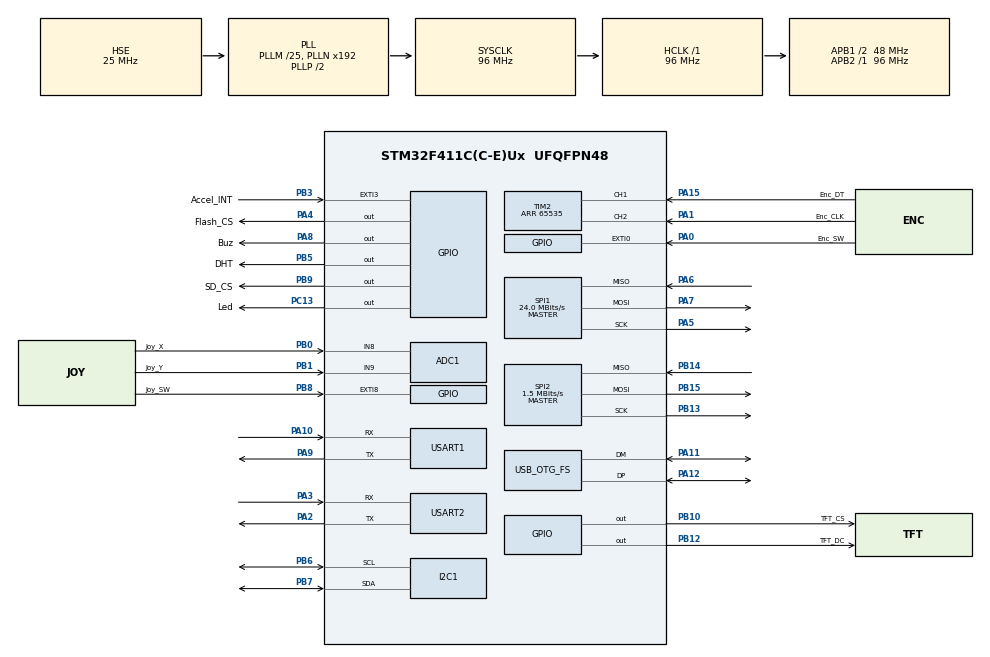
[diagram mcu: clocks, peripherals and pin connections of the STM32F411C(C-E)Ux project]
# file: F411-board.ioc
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ADC1.Channel-0\#ChannelRegularConversion=ADC_CHANNEL_8
ADC1.Channel-1\#ChannelRegularConversion=ADC_CHANNEL_9
ADC1.ContinuousConvMode=ENABLE
ADC1.DMAContinuousRequests=ENABLE
ADC1.EOCSelection=ADC_EOC_SEQ_CONV
ADC1.NbrOfConversion=2
ADC1.NbrOfConversionFlag=1
ADC1.Rank-0\#ChannelRegularConversion=1
ADC1.Rank-1\#ChannelRegularConversion=2
ADC1.SamplingTime-0\#ChannelRegularConversion=ADC_SAMPLETIME_56CYCLES
ADC1.SamplingTime-1\#ChannelRegularConversion=ADC_SAMPLETIME_56CYCLES
ADC1.master=1
Dma.ADC1.0.Direction=DMA_PERIPH_TO_MEMORY
Dma.ADC1.0.FIFOMode=DMA_FIFOMODE_DISABLE
Dma.ADC1.0.Instance=DMA2_Stream0
Dma.ADC1.0.MemDataAlignment=DMA_MDATAALIGN_HALFWORD
Dma.ADC1.0.MemInc=DMA_MINC_ENABLE
Dma.ADC1.0.Mode=DMA_CIRCULAR
Dma.ADC1.0.PeriphDataAlignment=DMA_PDATAALIGN_HALFWORD
Dma.ADC1.0.PeriphInc=DMA_PINC_DISABLE
Dma.ADC1.0.Priority=DMA_PRIORITY_LOW
Dma.I2C1_RX.1.Direction=DMA_PERIPH_TO_MEMORY
Dma.I2C1_RX.1.FIFOMode=DMA_FIFOMODE_DISABLE
Dma.I2C1_RX.1.Instance=DMA1_Stream5
Dma.I2C1_RX.1.MemDataAlignment=DMA_MDATAALIGN_BYTE
Dma.I2C1_RX.1.MemInc=DMA_MINC_ENABLE
Dma.I2C1_RX.1.Mode=DMA_NORMAL
Dma.I2C1_RX.1.PeriphDataAlignment=DMA_PDATAALIGN_BYTE
Dma.I2C1_RX.1.PeriphInc=DMA_PINC_DISABLE
Dma.I2C1_RX.1.Priority=DMA_PRIORITY_LOW
Dma.Request0=ADC1
Dma.Request1=I2C1_RX
Dma.Request2=SPI1_TX
Dma.SPI1_TX.2.Direction=DMA_MEMORY_TO_PERIPH
Dma.SPI1_TX.2.FIFOMode=DMA_FIFOMODE_DISABLE
Dma.SPI1_TX.2.Instance=DMA2_Stream2
Dma.SPI1_TX.2.MemDataAlignment=DMA_MDATAALIGN_BYTE
Dma.SPI1_TX.2.MemInc=DMA_MINC_ENABLE
Dma.SPI1_TX.2.Mode=DMA_NORMAL
Dma.SPI1_TX.2.PeriphDataAlignment=DMA_PDATAALIGN_BYTE
Dma.SPI1_TX.2.PeriphInc=DMA_PINC_DISABLE
Dma.SPI1_TX.2.Priority=DMA_PRIORITY_LOW
FATFS._MAX_SS=4096
FATFS._USE_LABEL=1
FATFS._USE_LFN=1
Mcu.Family=STM32F4
Mcu.Name=STM32F411C(C-E)Ux
Mcu.Package=UFQFPN48
NVIC.DMA1_Stream5_IRQn=true\:1\:0\:true\:false\:true\:false\:true\:true
NVIC.DMA2_Stream0_IRQn=true\:2\:0\:true\:false\:true\:false\:true\:true
NVIC.DMA2_Stream2_IRQn=true\:0\:0\:false\:false\:true\:false\:true\:true
NVIC.EXTI0_IRQn=true\:7\:0\:true\:false\:true\:true\:true\:true
NVIC.EXTI3_IRQn=true\:7\:0\:true\:false\:true\:true\:true\:true
NVIC.EXTI9_5_IRQn=true\:7\:0\:true\:false\:true\:true\:true\:true
NVIC.OTG_FS_IRQn=true\:0\:0\:false\:false\:true\:false\:true\:true
NVIC.PriorityGroup=NVIC_PRIORITYGROUP_4
NVIC.TIM5_IRQn=true\:6\:0\:true\:false\:true\:true\:true\:true
PA0-WKUP.GPIO_Label=Enc_SW
PA0-WKUP.GPIO_ModeDefaultEXTI=GPIO_MODE_IT_FALLING
PA0-WKUP.GPIO_PuPd=GPIO_PULLUP
PA0-WKUP.Signal=GPXTI0
PA1.GPIO_Label=Enc_CLK
PA1.GPIO_ModeDefaultPP=GPIO_MODE_AF_PP
PA1.GPIO_PuPd=GPIO_PULLUP
PA1.Signal=S_TIM2_CH2
PA10.Mode=Asynchronous
PA10.Signal=USART1_RX
PA11.Mode=Device_Only
PA11.Signal=USB_OTG_FS_DM
PA12.Mode=Device_Only
PA12.Signal=USB_OTG_FS_DP
PA13.Mode=Serial_Wire
PA13.Signal=SYS_JTMS-SWDIO
PA14.Mode=Serial_Wire
PA14.Signal=SYS_JTCK-SWCLK
PA15.GPIO_Label=Enc_DT
PA15.GPIO_ModeDefaultPP=GPIO_MODE_AF_PP
PA15.Signal=S_TIM2_CH1_ETR
PA2.Mode=Asynchronous
PA2.Signal=USART2_TX
PA3.Mode=Asynchronous
PA3.Signal=USART2_RX
PA4.GPIO_Label=Flash_CS
PA4.GPIO_Speed=GPIO_SPEED_FREQ_HIGH
PA4.PinState=GPIO_PIN_SET
PA4.Signal=GPIO_Output
PA5.Mode=Full_Duplex_Master
PA5.Signal=SPI1_SCK
PA6.Mode=Full_Duplex_Master
PA6.Signal=SPI1_MISO
PA7.Mode=Full_Duplex_Master
PA7.Signal=SPI1_MOSI
PA8.GPIO_Label=Buz
PA8.GPIO_ModeDefaultOutputPP=GPIO_MODE_OUTPUT_OD
PA8.GPIO_PuPd=GPIO_NOPULL
PA8.PinState=GPIO_PIN_SET
PA8.Signal=GPIO_Output
PA9.Mode=Asynchronous
PA9.Signal=USART1_TX
PB0.GPIO_Label=Joy_X
PB0.Signal=ADCx_IN8
PB1.GPIO_Label=Joy_Y
PB1.Signal=ADCx_IN9
PB10.GPIO_Label=TFT_CS
PB10.GPIO_Speed=GPIO_SPEED_FREQ_HIGH
PB10.PinState=GPIO_PIN_SET
PB10.Signal=GPIO_Output
PB12.GPIO_Label=TFT_DC
PB12.GPIO_Speed=GPIO_SPEED_FREQ_HIGH
PB12.Signal=GPIO_Output
PB13.Mode=Full_Duplex_Master
PB13.Signal=SPI2_SCK
PB14.Mode=Full_Duplex_Master
PB14.Signal=SPI2_MISO
PB15.Mode=Full_Duplex_Master
PB15.Signal=SPI2_MOSI
PB3.GPIO_Label=Accel_INT
PB3.GPIO_PuPd=GPIO_NOPULL
PB3.Signal=GPXTI3
PB5.GPIO_Label=DHT
PB5.GPIO_ModeDefaultOutputPP=GPIO_MODE_OUTPUT_OD
PB5.GPIO_PuPd=GPIO_NOPULL
PB5.PinState=GPIO_PIN_SET
PB5.Signal=GPIO_Output
PB6.Mode=I2C
PB6.Signal=I2C1_SCL
PB7.Mode=I2C
PB7.Signal=I2C1_SDA
PB8.GPIO_Label=Joy_SW
PB8.GPIO_ModeDefaultEXTI=GPIO_MODE_IT_FALLING
PB8.GPIO_PuPd=GPIO_NOPULL
PB8.Signal=GPXTI8
PB9.GPIO_Label=SD_CS
PB9.GPIO_Speed=GPIO_SPEED_FREQ_HIGH
PB9.PinState=GPIO_PIN_SET
PB9.Signal=GPIO_Output
PC13-ANTI_TAMP.GPIO_Label=Led
PC13-ANTI_TAMP.GPIO_ModeDefaultOutputPP=GPIO_MODE_OUTPUT_OD
PC13-ANTI_TAMP.GPIO_PuPd=GPIO_NOPULL
PC13-ANTI_TAMP.PinState=GPIO_PIN_SET
PC13-ANTI_TAMP.Signal=GPIO_Output
PC14-OSC32_IN.Mode=LSE-External-Oscillator
PC14-OSC32_IN.Signal=RCC_OSC32_IN
PC15-OSC32_OUT.Mode=LSE-External-Oscillator
PC15-OSC32_OUT.Signal=RCC_OSC32_OUT
PH0\ -\ OSC_IN.Mode=HSE-External-Oscillator
PH0\ -\ OSC_IN.Signal=RCC_OSC_IN
PH1\ -\ OSC_OUT.Mode=HSE-External-Oscillator
PH1\ -\ OSC_OUT.Signal=RCC_OSC_OUT
ProjectManager.HeapSize=0x200
ProjectManager.StackSize=0x400
ProjectManager.TargetToolchain=Makefile
RCC.48MHZClocksFreq_Value=48000000
RCC.AHBFreq_Value=96000000
RCC.APB1CLKDivider=RCC_HCLK_DIV2
RCC.APB1Freq_Value=48000000
RCC.APB1TimFreq_Value=96000000
RCC.APB2Freq_Value=96000000
RCC.APB2TimFreq_Value=96000000
RCC.CortexFreq_Value=96000000
RCC.HCLKFreq_Value=96000000
RCC.HSE_VALUE=25000000
RCC.HSI_VALUE=16000000
RCC.PLLM=25
RCC.SYSCLKFreq_VALUE=96000000
RCC.SYSCLKSource=RCC_SYSCLKSOURCE_PLLCLK
RCC.VCOOutputFreq_Value=192000000
SH.ADCx_IN8.0=ADC1_IN8,IN8
SH.ADCx_IN9.0=ADC1_IN9,IN9
SH.S_TIM2_CH1_ETR.0=TIM2_CH1,Encoder_Interface
SH.S_TIM2_CH2.0=TIM2_CH2,Encoder_Interface
SPI1.BaudRatePrescaler=SPI_BAUDRATEPRESCALER_4
SPI1.CalculateBaudRate=24.0 MBits/s
SPI1.Direction=SPI_DIRECTION_2LINES
SPI1.Mode=SPI_MODE_MASTER
SPI1.VirtualType=VM_MASTER
SPI2.BaudRatePrescaler=SPI_BAUDRATEPRESCALER_32
SPI2.CalculateBaudRate=1.5 MBits/s
SPI2.Direction=SPI_DIRECTION_2LINES
SPI2.Mode=SPI_MODE_MASTER
SPI2.VirtualType=VM_MASTER
TIM2.AutoReloadPreload=TIM_AUTORELOAD_PRELOAD_DISABLE
TIM2.ClockDivision=TIM_CLOCKDIVISION_DIV1
TIM2.CounterMode=TIM_COUNTERMODE_UP
TIM2.EncoderMode=TIM_ENCODERMODE_TI2
TIM2.IC1Filter=15
TIM2.IC1Polarity=TIM_ICPOLARITY_FALLING
TIM2.IC2Filter=15
TIM2.IC2Polarity=TIM_ICPOLARITY_FALLING
TIM2.Period=65535
TIM5.Period=10000-1
TIM5.Prescaler=96-1
USART1.VirtualMode=VM_ASYNC
USART2.VirtualMode=VM_ASYNC
USB_DEVICE.CLASS_NAME_FS=CDC
USB_DEVICE.PRODUCT_STRING_CDC_FS=F411-board
USB_DEVICE.VirtualMode=Cdc
USB_DEVICE.VirtualModeFS=Cdc_FS
USB_OTG_FS.VirtualMode=Device_Only
VP_FATFS_VS_Generic.Mode=User_defined
VP_TIM5_VS_ClockSourceINT.Mode=Internal
VP_USB_DEVICE_VS_USB_DEVICE_CDC_FS.Mode=CDC_FS
board=custom

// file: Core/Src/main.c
/* USER CODE BEGIN Header */
/**
  ******************************************************************************
  * @file           : main.c
  * @brief          : Main program body
  ******************************************************************************
  * @attention
  *
  * Copyright (c) 2026 STMicroelectronics.
  * All rights reserved.
  *
  * This software is licensed under terms that can be found in the LICENSE file
  * in the root directory of this software component.
  * If no LICENSE file comes with this software, it is provided AS-IS.
  *
  ******************************************************************************
  */
/* USER CODE END Header */
#include "main.h"
#include "adc.h"
#include "dma.h"
#include "fatfs.h"
#include "i2c.h"
#include "spi.h"
#include "tim.h"
#include "usart.h"
#include "usb_device.h"
#include "gpio.h"

/* USER CODE BEGIN Includes */
#include <stdio.h>
#include <stdlib.h>
#include "usbd_cdc_if.h"
#include "dwt_delay.h"
#include "sd_functions.h"
#include "st7735.h"
#include "flash.h"
#include "dht.h"
#include "mpu.h"
#include "encoder.h"
#include "joystick.h"

/* USER CODE END Includes */

/* USER CODE BEGIN PV */

char mesg[128] = {0};
uint8_t mesg_len = 0;

DHT_Data_t dht_data = {0};
MPU_Data_t mpu_data = {0};
Joystick_Data_t joy_data = {0};
MPU_Angles_t angles = {0};

// Буферы для углов (DMP выдаёт их в градусах)
float gs_pitch = 0.0f, gs_roll = 0.0f, gs_yaw = 0.0f;
int16_t accel_raw[3];
float accel_g[3];
int16_t gyro_raw[3];
float gyro_dps[3];
int32_t quat[4];

/* USER CODE END PV */

void SystemClock_Config(void);

/* USER CODE BEGIN 0 */
int _write(int fd, unsigned char *buf, int len) {
    if(fd == 1 || fd == 2) {
        HAL_UART_Transmit(&huart1, buf, len, 100);
    }
    return len;
}
/* USER CODE END 0 */

int main(void)
{

  /* MCU Configuration--------------------------------------------------------*/

  /* Reset of all peripherals, Initializes the Flash interface and the Systick. */
  HAL_Init();

  /* Configure the system clock */
  SystemClock_Config();

  /* Initialize all configured peripherals */
  MX_GPIO_Init();
  MX_DMA_Init();
  MX_ADC1_Init();
  MX_I2C1_Init();
  MX_SPI1_Init();
  MX_SPI2_Init();
  MX_USART1_UART_Init();
  MX_USART2_UART_Init();
  MX_USB_DEVICE_Init();
  MX_TIM2_Init();
  MX_TIM5_Init();
  /* USER CODE BEGIN 2 */
    DWT_Delay_Init();
    HAL_TIM_Base_Start_IT(&htim5);

    // if(SD_Mount()) {
    //     Error_Handler();
    // }

    // if(W25Q_Init()) {
    //     Error_Handler();
    // }

    // W25Q_Init();
    // SD_Mount();

    ST7735_Init();
    ST7735_rotation(4);

    Joystick_Start();
    MPU_Init();

    HAL_TIM_Encoder_Start_IT(&htim2, TIM_CHANNEL_2);

    // Encoder_SetClickFunc(test_clk);
    // Encoder_SetScrolFunc(test_scrol);
  /* USER CODE END 2 */

  /* Infinite loop */
  /* USER CODE BEGIN WHILE */
    // uint32_t mpu_time = 0;
    uint32_t ui_time = 0;
    while (1)
    {

        // if(HAL_GetTick() - mpu_time > 50) {
        //     mpu_time = HAL_GetTick();
        //     // MPU_Read_FIFO(mpu_data, 20);
        //     printf("MPU: %d\r\n", MPU_Read_FIFO(mpu_data, 100));
        //     printf("T: %lu\r\n", HAL_GetTick() - mpu_time);
        // }

        if(HAL_GetTick() - ui_time > 200) {
            ui_time = HAL_GetTick();
            MPU_GetData(&mpu_data);
            MPU_CalcAnglesFromAccel(&mpu_data, &angles);
            Joystick_GetData(&joy_data);
            DHT_Read(&dht_data);

            ST7735_ClearFrameBuffer();

            char data_str[64];
            sprintf(data_str, "Enc C=%d D=%d SW=%d", Encoder_GetCount(), Encoder_GetScrol(), Encoder_GetClick());
            ST7735_print(0, 5, ST7735_CYAN, 0, 0, &Font_7x9, 0, data_str);

            sprintf(data_str, "Joy X=%d Y=%d SW=%d", -joy_data.x, -joy_data.y, Joystick_GetClick());
            ST7735_print(0, 20, ST7735_CYAN, 0, 0, &Font_7x9, 0, data_str);

            sprintf(data_str, "Accel X=%d Y=%d Z=%d", -(int)(mpu_data.accel[1]*100), -(int)(mpu_data.accel[2]*100), (int)(-mpu_data.accel[0]*100));
            ST7735_print(0, 35, ST7735_CYAN, 0, 0, &Font_6x8, 0, data_str);

            sprintf(data_str, "Angle P=%d R=%d Temp=%d", (int)angles.pitch, (int)angles.roll, (int)(mpu_data.temp));
            ST7735_print(0, 50, ST7735_CYAN, 0, 0, &Font_6x8, 0, data_str);

            sprintf(data_str, "Temp=%d Hum=%d", (int)dht_data.temp, dht_data.hum);
            ST7735_print(0, 100, ST7735_CYAN, 0, 0, &Font_7x9, 0, data_str);

            sprintf(data_str, "Flash=%d SD=%d", W25Q_CheckState(), SD_CheckState());
            ST7735_print(0, 115, ST7735_CYAN, 0, 0, &Font_7x9, 0, data_str);

            ST7735_Update();

            HAL_GPIO_TogglePin(Led_GPIO_Port, Led_Pin);
            // printf("T: %lu\r\n", HAL_GetTick() - ui_time);
        }

        HAL_Delay(10);
    /* USER CODE END WHILE */

  }
}

void SystemClock_Config(void)
{
  RCC_OscInitTypeDef RCC_OscInitStruct = {0};
  RCC_ClkInitTypeDef RCC_ClkInitStruct = {0};

  /** Configure the main internal regulator output voltage
  */
  __HAL_RCC_PWR_CLK_ENABLE();
  __HAL_PWR_VOLTAGESCALING_CONFIG(PWR_REGULATOR_VOLTAGE_SCALE1);

  /** Initializes the RCC Oscillators according to the specified parameters
  * in the RCC_OscInitTypeDef structure.
  */
  RCC_OscInitStruct.OscillatorType = RCC_OSCILLATORTYPE_HSE;
  RCC_OscInitStruct.HSEState = RCC_HSE_ON;
  RCC_OscInitStruct.PLL.PLLState = RCC_PLL_ON;
  RCC_OscInitStruct.PLL.PLLSource = RCC_PLLSOURCE_HSE;
  RCC_OscInitStruct.PLL.PLLM = 25;
  RCC_OscInitStruct.PLL.PLLN = 192;
  RCC_OscInitStruct.PLL.PLLP = RCC_PLLP_DIV2;
  RCC_OscInitStruct.PLL.PLLQ = 4;
  if (HAL_RCC_OscConfig(&RCC_OscInitStruct) != HAL_OK)
  {
    Error_Handler();
  }

  /** Initializes the CPU, AHB and APB buses clocks
  */
  RCC_ClkInitStruct.ClockType = RCC_CLOCKTYPE_HCLK|RCC_CLOCKTYPE_SYSCLK
                              |RCC_CLOCKTYPE_PCLK1|RCC_CLOCKTYPE_PCLK2;
  RCC_ClkInitStruct.SYSCLKSource = RCC_SYSCLKSOURCE_PLLCLK;
  RCC_ClkInitStruct.AHBCLKDivider = RCC_SYSCLK_DIV1;
  RCC_ClkInitStruct.APB1CLKDivider = RCC_HCLK_DIV2;
  RCC_ClkInitStruct.APB2CLKDivider = RCC_HCLK_DIV1;

  if (HAL_RCC_ClockConfig(&RCC_ClkInitStruct, FLASH_LATENCY_3) != HAL_OK)
  {
    Error_Handler();
  }
}

void Error_Handler(void)
{
  /* USER CODE BEGIN Error_Handler_Debug */
  /* User can add his own implementation to report the HAL error return state */
  __disable_irq();
  while (1)
  {
    HAL_GPIO_TogglePin(Led_GPIO_Port, Led_Pin);
    DWT_DelayMs(50);
  }
  /* USER CODE END Error_Handler_Debug */
}
